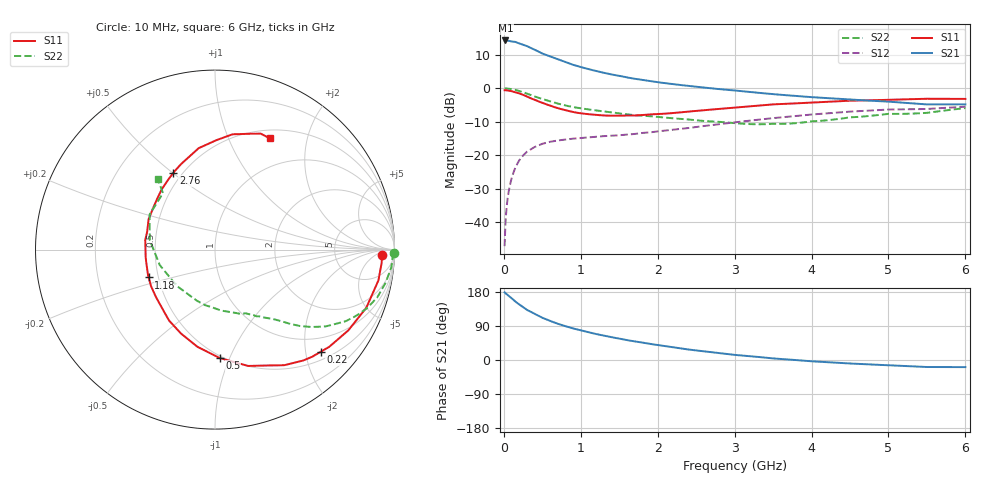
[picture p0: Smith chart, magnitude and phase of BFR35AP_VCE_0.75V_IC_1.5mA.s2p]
! Infineon Technologies  Discrete & RF Semiconductors
! BFR35AP
! VCE = 0.75 V,  IC =  1.5 mA
! Common Emitter S-Parameters:  Nov 2015
# GHz  S  MA  R  50
!  f  S11  S21  S12  S22
! GHz  MAG  ANG  MAG  ANG  MAG  ANG  MAG  ANG
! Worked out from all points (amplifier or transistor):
!   210 points, 10 MHz to 6 GHz, reference 50 ohm
!   highest |S21| = 14.2 dB at 20 MHz (marker M1)
!   |S21| within 3 dB of that: start of sweep to 422.5 MHz
!   unconditionally stable (mu >= 1): 1.172 GHz to end of sweep
!   at 185 MHz: K = 0.21, MSG = 17.8 dB, |S12| = -22.1 dB
!   at 1.52 GHz: K = 1.17, MAG = 6.3 dB, |S12| = -14.0 dB
!   at 6 GHz: K = 1.08, MAG = -1.4 dB, |S12| = -5.5 dB
!   S11 on the Smith chart (normalised r, x): 10 MHz: 22, -11; 220 MHz: 0.67, -2.31; 500 MHz: 0.48, -0.92; 1.18 GHz: 0.44, -0.16; 2.76 GHz: 0.45, +0.50; 6 GHz: 0.60, +1.43
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0.01  0.93 -2.0  5.036 178.7  0.0044 88.6  0.9965 -1.1
0.02  0.9317 -4.4  5.14 176.5  0.0091 86.3  0.991 -2.2
0.045  0.9265 -9.6  5.123 172.3  0.0207 83.1  0.9876 -5.2
0.085  0.907 -17.9  5.006 165.7  0.0382 78.4  0.9732 -9.4
0.15  0.8685 -31.2  4.892 154.0  0.0653 70.8  0.9421 -16.5
0.22  0.8189 -44.1  4.55 143.8  0.0898 63.3  0.8925 -22.6
0.3  0.7511 -59.0  4.237 132.4  0.1126 56.4  0.8303 -28.7
0.4  0.674 -74.1  3.753 121.6  0.1325 49.1  0.7513 -34.7
0.5  0.6047 -87.5  3.285 111.4  0.1478 44.0  0.6882 -38.8
0.6  0.5505 -100.2  2.978 103.1  0.1585 39.7  0.6359 -42.0
0.7  0.5044 -112.1  2.706 95.7  0.1657 36.8  0.5898 -44.6
0.9  0.4411 -131.6  2.229 83.3  0.1764 33.4  0.5212 -48.7
1.02  0.4186 -143.1  2.031 77.2  0.1814 32.0  0.4964 -50.9
1.18  0.401 -157.2  1.823 69.5  0.1877 30.8  0.4678 -54.0
1.5  0.3873 178.8  1.529 56.4  0.1983 31.4  0.4198 -60.0
2.02  0.4117 149.0  1.217 38.8  0.2278 32.9  0.3707 -72.1
2.76  0.4861 118.6  0.977 19.2  0.2861 32.7  0.3161 -98.2
3.1  0.5227 108.9  0.899 11.8  0.3185 30.7  0.2952 -114.8
4.1  0.6174 87.5  0.722 -4.5  0.4121 20.9  0.3243 -169.6
5.1  0.6738 73.3  0.617 -14.8  0.481 7.6  0.4126 147.9
5.5  0.6945 68.5  0.572 -18.5  0.4892 1.8  0.4281 132.6
6  0.6909 63.7  0.573 -18.8  0.529 -2.1  0.5051 129.1
